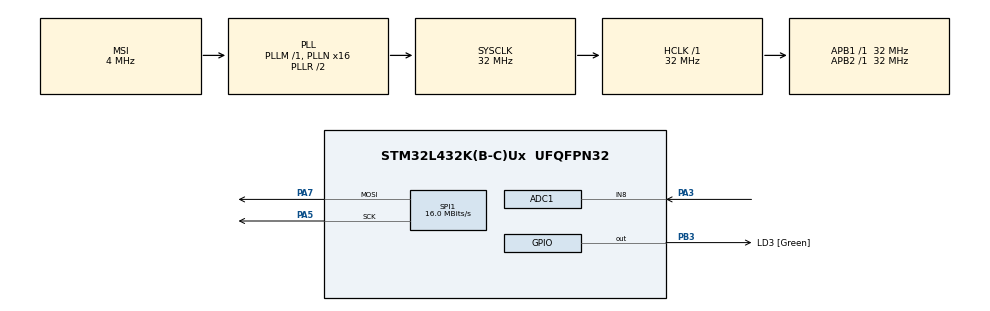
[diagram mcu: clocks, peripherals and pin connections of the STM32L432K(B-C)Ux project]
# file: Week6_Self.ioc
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ADC1.Channel-0\#ChannelRegularConversion=ADC_CHANNEL_8
ADC1.NbrOfConversionFlag=1
ADC1.OffsetNumber-0\#ChannelRegularConversion=ADC_OFFSET_NONE
ADC1.Rank-0\#ChannelRegularConversion=1
ADC1.SamplingTime-0\#ChannelRegularConversion=ADC_SAMPLETIME_2CYCLES_5
ADC1.master=1
Mcu.Family=STM32L4
Mcu.Name=STM32L432K(B-C)Ux
Mcu.Package=UFQFPN32
NVIC.ADC1_IRQn=true\:1\:0\:true\:false\:true\:true\:true\:true
NVIC.PriorityGroup=NVIC_PRIORITYGROUP_4
NVIC.SPI1_IRQn=true\:2\:0\:true\:false\:true\:true\:true\:true
NVIC.TIM7_IRQn=true\:0\:0\:false\:false\:true\:true\:true\:true
PA0.GPIO_Label=MCO [High speed clock in]
PA0.Mode=HSE-External-Clock-Source-for-LittleOrca
PA0.Signal=RCC_CK_IN
PA13\ (JTMS-SWDIO).GPIO_Label=SWDIO
PA13\ (JTMS-SWDIO).Mode=Serial_Wire
PA13\ (JTMS-SWDIO).Signal=SYS_JTMS-SWDIO
PA14\ (JTCK-SWCLK).GPIO_Label=SWCLK
PA14\ (JTCK-SWCLK).Mode=Serial_Wire
PA14\ (JTCK-SWCLK).Signal=SYS_JTCK-SWCLK
PA15\ (JTDI).GPIO_Label=VCP_RX
PA15\ (JTDI).Signal=USART2_RX
PA2.GPIO_Label=VCP_TX
PA2.Signal=USART2_TX
PA3.Signal=ADCx_IN8
PA5.Mode=TX_Only_Simplex_Unidirect_Master
PA5.Signal=SPI1_SCK
PA7.Mode=TX_Only_Simplex_Unidirect_Master
PA7.Signal=SPI1_MOSI
PB3\ (JTDO-TRACESWO).GPIO_Label=LD3 [Green]
PB3\ (JTDO-TRACESWO).Signal=GPIO_Output
PC14-OSC32_IN\ (PC14).Mode=LSE-External-Oscillator
PC14-OSC32_IN\ (PC14).Signal=RCC_OSC32_IN
PC15-OSC32_OUT\ (PC15).Mode=LSE-External-Oscillator
PC15-OSC32_OUT\ (PC15).Signal=RCC_OSC32_OUT
ProjectManager.HeapSize=0x200
ProjectManager.StackSize=0x400
ProjectManager.TargetToolchain=STM32CubeIDE
RCC.ADCFreq_Value=32000000
RCC.AHBFreq_Value=32000000
RCC.APB1Freq_Value=32000000
RCC.APB1TimFreq_Value=32000000
RCC.APB2Freq_Value=32000000
RCC.APB2TimFreq_Value=32000000
RCC.CortexFreq_Value=32000000
RCC.HCLKFreq_Value=32000000
RCC.HSE_VALUE=8000000
RCC.HSI16_VALUE=16000000
RCC.HSI48_VALUE=48000000
RCC.HSI_VALUE=16000000
RCC.MSI_VALUE=4000000
RCC.PLLMUL=RCC_PLLMUL_4
RCC.PLLN=16
RCC.PLLSAI1N=16
RCC.SYSCLKFreq_VALUE=32000000
RCC.SYSCLKSource=RCC_SYSCLKSOURCE_PLLCLK
RCC.USBFreq_Value=32000000
RCC.VCOOutputFreq_Value=64000000
SH.ADCx_IN8.0=ADC1_IN8,IN8-Single-Ended
SPI1.CalculateBaudRate=16.0 MBits/s
SPI1.DataSize=SPI_DATASIZE_8BIT
SPI1.Direction=SPI_DIRECTION_2LINES
SPI1.Mode=SPI_MODE_MASTER
SPI1.VirtualType=VM_MASTER
TIM7.Period=100-1
TIM7.Prescaler=50-1
VP_TIM7_VS_ClockSourceINT.Mode=Enable_Timer
board=NUCLEO-L432KC

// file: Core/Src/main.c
/* USER CODE BEGIN Header */
/**
  ******************************************************************************
  * @file           : main.c
  * @brief          : Main program body
  ******************************************************************************
  * @attention
  *
  * Copyright (c) 2026 STMicroelectronics.
  * All rights reserved.
  *
  * This software is licensed under terms that can be found in the LICENSE file
  * in the root directory of this software component.
  * If no LICENSE file comes with this software, it is provided AS-IS.
  *
  ******************************************************************************
  */
/* USER CODE END Header */
#include "main.h"

/* USER CODE BEGIN Includes */
#include <stdio.h>
#include <string.h>
/* USER CODE END Includes */

ADC_HandleTypeDef hadc1;

SPI_HandleTypeDef hspi1;

TIM_HandleTypeDef htim7;

/* USER CODE BEGIN PV */
uint16_t raw_ADC_value = 0;
uint8_t raw_ADC_value_1[2] = {0};
uint16_t temp = 0;
char string_1[40] = "\0";

uint8_t spi_tx_busy = 0;
/* USER CODE END PV */

void SystemClock_Config(void);
static void MX_GPIO_Init(void);
static void MX_ADC1_Init(void);
static void MX_TIM7_Init(void);
static void MX_SPI1_Init(void);

int main(void)
{

  /* MCU Configuration--------------------------------------------------------*/

  /* Reset of all peripherals, Initializes the Flash interface and the Systick. */
  HAL_Init();

  /* Configure the system clock */
  SystemClock_Config();

  /* Initialize all configured peripherals */
  MX_GPIO_Init();
  MX_ADC1_Init();
  MX_TIM7_Init();
  MX_SPI1_Init();
  /* USER CODE BEGIN 2 */
  HAL_TIM_Base_Start_IT(&htim7);
  /* USER CODE END 2 */

  /* Infinite loop */
  /* USER CODE BEGIN WHILE */
  //uint8_t test_data[2] = {0xDF, 0x07};  // LSB first, MSB second
  while (1)
  {
    /* USER CODE END WHILE */

  }
}

void SystemClock_Config(void)
{
  RCC_OscInitTypeDef RCC_OscInitStruct = {0};
  RCC_ClkInitTypeDef RCC_ClkInitStruct = {0};

  /** Configure the main internal regulator output voltage
  */
  if (HAL_PWREx_ControlVoltageScaling(PWR_REGULATOR_VOLTAGE_SCALE1) != HAL_OK)
  {
    Error_Handler();
  }

  /** Configure LSE Drive Capability
  */
  HAL_PWR_EnableBkUpAccess();
  __HAL_RCC_LSEDRIVE_CONFIG(RCC_LSEDRIVE_LOW);

  /** Initializes the RCC Oscillators according to the specified parameters
  * in the RCC_OscInitTypeDef structure.
  */
  RCC_OscInitStruct.OscillatorType = RCC_OSCILLATORTYPE_LSE|RCC_OSCILLATORTYPE_MSI;
  RCC_OscInitStruct.LSEState = RCC_LSE_ON;
  RCC_OscInitStruct.MSIState = RCC_MSI_ON;
  RCC_OscInitStruct.MSICalibrationValue = 0;
  RCC_OscInitStruct.MSIClockRange = RCC_MSIRANGE_6;
  RCC_OscInitStruct.PLL.PLLState = RCC_PLL_ON;
  RCC_OscInitStruct.PLL.PLLSource = RCC_PLLSOURCE_MSI;
  RCC_OscInitStruct.PLL.PLLM = 1;
  RCC_OscInitStruct.PLL.PLLN = 16;
  RCC_OscInitStruct.PLL.PLLP = RCC_PLLP_DIV7;
  RCC_OscInitStruct.PLL.PLLQ = RCC_PLLQ_DIV2;
  RCC_OscInitStruct.PLL.PLLR = RCC_PLLR_DIV2;
  if (HAL_RCC_OscConfig(&RCC_OscInitStruct) != HAL_OK)
  {
    Error_Handler();
  }

  /** Initializes the CPU, AHB and APB buses clocks
  */
  RCC_ClkInitStruct.ClockType = RCC_CLOCKTYPE_HCLK|RCC_CLOCKTYPE_SYSCLK
                              |RCC_CLOCKTYPE_PCLK1|RCC_CLOCKTYPE_PCLK2;
  RCC_ClkInitStruct.SYSCLKSource = RCC_SYSCLKSOURCE_PLLCLK;
  RCC_ClkInitStruct.AHBCLKDivider = RCC_SYSCLK_DIV1;
  RCC_ClkInitStruct.APB1CLKDivider = RCC_HCLK_DIV1;
  RCC_ClkInitStruct.APB2CLKDivider = RCC_HCLK_DIV1;

  if (HAL_RCC_ClockConfig(&RCC_ClkInitStruct, FLASH_LATENCY_1) != HAL_OK)
  {
    Error_Handler();
  }

  /** Enable MSI Auto calibration
  */
  HAL_RCCEx_EnableMSIPLLMode();
}

static void MX_ADC1_Init(void)
{

  ADC_ChannelConfTypeDef sConfig = {0};

  /** Common config
  */
  hadc1.Instance = ADC1;
  hadc1.Init.ClockPrescaler = ADC_CLOCK_ASYNC_DIV1;
  hadc1.Init.Resolution = ADC_RESOLUTION_12B;
  hadc1.Init.DataAlign = ADC_DATAALIGN_RIGHT;
  hadc1.Init.ScanConvMode = ADC_SCAN_DISABLE;
  hadc1.Init.EOCSelection = ADC_EOC_SINGLE_CONV;
  hadc1.Init.LowPowerAutoWait = DISABLE;
  hadc1.Init.ContinuousConvMode = DISABLE;
  hadc1.Init.NbrOfConversion = 1;
  hadc1.Init.DiscontinuousConvMode = DISABLE;
  hadc1.Init.ExternalTrigConv = ADC_SOFTWARE_START;
  hadc1.Init.ExternalTrigConvEdge = ADC_EXTERNALTRIGCONVEDGE_NONE;
  hadc1.Init.DMAContinuousRequests = DISABLE;
  hadc1.Init.Overrun = ADC_OVR_DATA_PRESERVED;
  hadc1.Init.OversamplingMode = DISABLE;
  if (HAL_ADC_Init(&hadc1) != HAL_OK)
  {
    Error_Handler();
  }

  /** Configure Regular Channel
  */
  sConfig.Channel = ADC_CHANNEL_8;
  sConfig.Rank = ADC_REGULAR_RANK_1;
  sConfig.SamplingTime = ADC_SAMPLETIME_2CYCLES_5;
  sConfig.SingleDiff = ADC_SINGLE_ENDED;
  sConfig.OffsetNumber = ADC_OFFSET_NONE;
  sConfig.Offset = 0;
  if (HAL_ADC_ConfigChannel(&hadc1, &sConfig) != HAL_OK)
  {
    Error_Handler();
  }

}

static void MX_SPI1_Init(void)
{

  /* SPI1 parameter configuration*/
  hspi1.Instance = SPI1;
  hspi1.Init.Mode = SPI_MODE_MASTER;
  hspi1.Init.Direction = SPI_DIRECTION_2LINES;
  hspi1.Init.DataSize = SPI_DATASIZE_8BIT;
  hspi1.Init.CLKPolarity = SPI_POLARITY_LOW;
  hspi1.Init.CLKPhase = SPI_PHASE_1EDGE;
  hspi1.Init.NSS = SPI_NSS_SOFT;
  hspi1.Init.BaudRatePrescaler = SPI_BAUDRATEPRESCALER_2;
  hspi1.Init.FirstBit = SPI_FIRSTBIT_MSB;
  hspi1.Init.TIMode = SPI_TIMODE_DISABLE;
  hspi1.Init.CRCCalculation = SPI_CRCCALCULATION_DISABLE;
  hspi1.Init.CRCPolynomial = 7;
  hspi1.Init.CRCLength = SPI_CRC_LENGTH_DATASIZE;
  hspi1.Init.NSSPMode = SPI_NSS_PULSE_ENABLE;
  if (HAL_SPI_Init(&hspi1) != HAL_OK)
  {
    Error_Handler();
  }

}

static void MX_TIM7_Init(void)
{

  TIM_MasterConfigTypeDef sMasterConfig = {0};

  htim7.Instance = TIM7;
  htim7.Init.Prescaler = 50-1;
  htim7.Init.CounterMode = TIM_COUNTERMODE_UP;
  htim7.Init.Period = 100-1;
  htim7.Init.AutoReloadPreload = TIM_AUTORELOAD_PRELOAD_DISABLE;
  if (HAL_TIM_Base_Init(&htim7) != HAL_OK)
  {
    Error_Handler();
  }
  sMasterConfig.MasterOutputTrigger = TIM_TRGO_RESET;
  sMasterConfig.MasterSlaveMode = TIM_MASTERSLAVEMODE_DISABLE;
  if (HAL_TIMEx_MasterConfigSynchronization(&htim7, &sMasterConfig) != HAL_OK)
  {
    Error_Handler();
  }

}

static void MX_GPIO_Init(void)
{
  GPIO_InitTypeDef GPIO_InitStruct = {0};

  /* GPIO Ports Clock Enable */
  __HAL_RCC_GPIOC_CLK_ENABLE();
  __HAL_RCC_GPIOA_CLK_ENABLE();
  __HAL_RCC_GPIOB_CLK_ENABLE();

  /*Configure GPIO pin Output Level */
  HAL_GPIO_WritePin(LD3_GPIO_Port, LD3_Pin, GPIO_PIN_RESET);

  /*Configure GPIO pin : VCP_TX_Pin */
  GPIO_InitStruct.Pin = VCP_TX_Pin;
  GPIO_InitStruct.Mode = GPIO_MODE_AF_PP;
  GPIO_InitStruct.Pull = GPIO_NOPULL;
  GPIO_InitStruct.Speed = GPIO_SPEED_FREQ_VERY_HIGH;
  GPIO_InitStruct.Alternate = GPIO_AF7_USART2;
  HAL_GPIO_Init(VCP_TX_GPIO_Port, &GPIO_InitStruct);

  /*Configure GPIO pin : VCP_RX_Pin */
  GPIO_InitStruct.Pin = VCP_RX_Pin;
  GPIO_InitStruct.Mode = GPIO_MODE_AF_PP;
  GPIO_InitStruct.Pull = GPIO_NOPULL;
  GPIO_InitStruct.Speed = GPIO_SPEED_FREQ_VERY_HIGH;
  GPIO_InitStruct.Alternate = GPIO_AF3_USART2;
  HAL_GPIO_Init(VCP_RX_GPIO_Port, &GPIO_InitStruct);

  /*Configure GPIO pin : LD3_Pin */
  GPIO_InitStruct.Pin = LD3_Pin;
  GPIO_InitStruct.Mode = GPIO_MODE_OUTPUT_PP;
  GPIO_InitStruct.Pull = GPIO_NOPULL;
  GPIO_InitStruct.Speed = GPIO_SPEED_FREQ_LOW;
  HAL_GPIO_Init(LD3_GPIO_Port, &GPIO_InitStruct);

}

/* USER CODE BEGIN 4 */
void HAL_TIM_PeriodElapsedCallback(TIM_HandleTypeDef* htim)
{
    if (htim->Instance == TIM7)
    {
        // Start ADC conversion under interrupt mode
        HAL_ADC_Start_IT(&hadc1);
    }
}

void HAL_ADC_ConvCpltCallback(ADC_HandleTypeDef* hadc)
{
    if (hadc->Instance == ADC1)
    {
        raw_ADC_value = HAL_ADC_GetValue(&hadc1);

        // Send ADC sample as little-endian: LSB first, MSB second
        raw_ADC_value_1[0] = raw_ADC_value & 0xFF;
        raw_ADC_value_1[1] = (raw_ADC_value >> 8) & 0xFF;

        // Start SPI transmission only if SPI is not busy
        if (spi_tx_busy == 0)
        {
        	if (HAL_SPI_Transmit_IT(&hspi1, raw_ADC_value_1, 2) == HAL_OK)
			{
				spi_tx_busy = 1;
			}
        }
    }
}

void HAL_SPI_TxCpltCallback(SPI_HandleTypeDef *hspi)
{
    if (hspi->Instance == SPI1)
    {
    	HAL_GPIO_TogglePin(LD3_GPIO_Port, LD3_Pin); //Debug purpose
        spi_tx_busy = 0;
    }
}

void HAL_SPI_ErrorCallback(SPI_HandleTypeDef *hspi)
{
    if (hspi->Instance == SPI1)
    {
        spi_tx_busy = 0;
    }
}
/* USER CODE END 4 */

void Error_Handler(void)
{
  __disable_irq();
  while (1)
  {
  }
}
